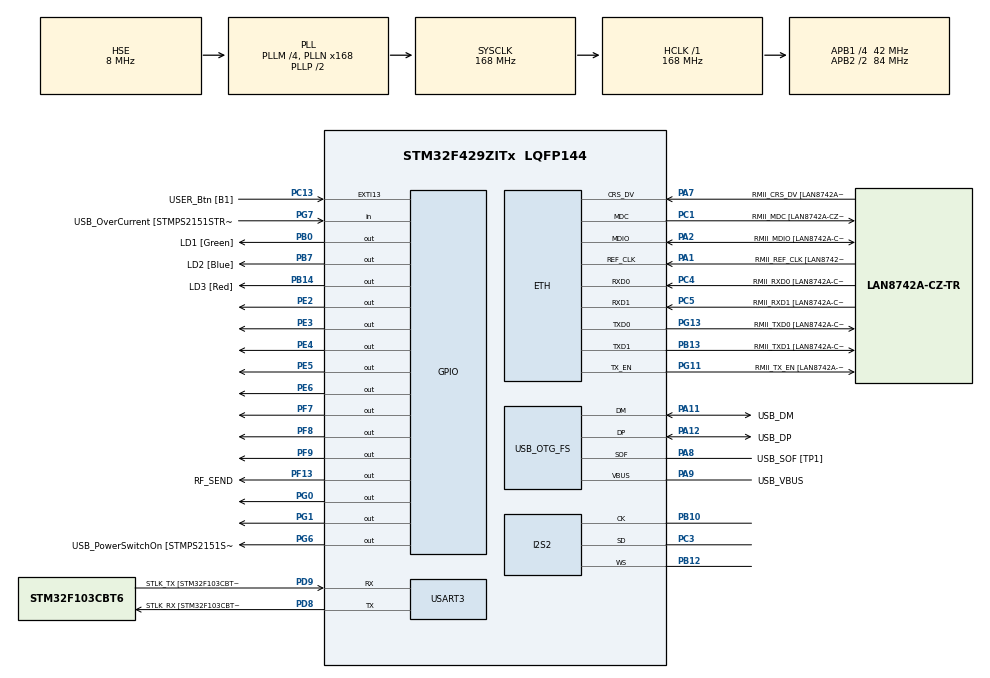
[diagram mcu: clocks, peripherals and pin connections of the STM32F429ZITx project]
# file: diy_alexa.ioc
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Dma.Request0=SPI2_RX
Dma.SPI2_RX.0.Direction=DMA_PERIPH_TO_MEMORY
Dma.SPI2_RX.0.FIFOMode=DMA_FIFOMODE_DISABLE
Dma.SPI2_RX.0.Instance=DMA1_Stream3
Dma.SPI2_RX.0.MemDataAlignment=DMA_MDATAALIGN_HALFWORD
Dma.SPI2_RX.0.MemInc=DMA_MINC_ENABLE
Dma.SPI2_RX.0.Mode=DMA_CIRCULAR
Dma.SPI2_RX.0.PeriphDataAlignment=DMA_PDATAALIGN_HALFWORD
Dma.SPI2_RX.0.PeriphInc=DMA_PINC_DISABLE
Dma.SPI2_RX.0.Priority=DMA_PRIORITY_HIGH
ETH.MediaInterface=HAL_ETH_RMII_MODE
ETH.PHY_Name=LAN8742A_PHY_ADDRESS
ETH.PHY_Value=0
ETH.PhyAddress=0
I2S2.AudioFreq=I2S_AUDIOFREQ_16K
I2S2.DataFormat=I2S_DATAFORMAT_24B
I2S2.ErrorAudioFreq=-0.26 %
I2S2.FullDuplexMode=I2S_FULLDUPLEXMODE_DISABLE
I2S2.Instance=SPI$Index
I2S2.Mode=I2S_MODE_MASTER_RX
I2S2.RealAudioFreq=15.957 KHz
I2S2.VirtualMode=I2S_MODE_MASTER
Mcu.Family=STM32F4
Mcu.Name=STM32F429ZITx
Mcu.Package=LQFP144
NVIC.DMA1_Stream3_IRQn=true\:0\:0\:false\:false\:true\:false\:true\:true
NVIC.PriorityGroup=NVIC_PRIORITYGROUP_4
PA1.GPIO_Label=RMII_REF_CLK [LAN8742A-CZ-TR_REFCLK0]
PA1.Mode=RMII
PA1.Signal=ETH_REF_CLK
PA10.GPIO_Label=USB_ID
PA10.Signal=USB_OTG_FS_ID
PA11.GPIO_Label=USB_DM
PA11.Mode=Device_Only
PA11.Signal=USB_OTG_FS_DM
PA12.GPIO_Label=USB_DP
PA12.Mode=Device_Only
PA12.Signal=USB_OTG_FS_DP
PA13.GPIO_Label=TMS
PA13.Mode=Serial_Wire
PA13.Signal=SYS_JTMS-SWDIO
PA14.GPIO_Label=TCK
PA14.Mode=Serial_Wire
PA14.Signal=SYS_JTCK-SWCLK
PA2.GPIO_Label=RMII_MDIO [LAN8742A-CZ-TR_MDIO]
PA2.Mode=RMII
PA2.Signal=ETH_MDIO
PA7.GPIO_Label=RMII_CRS_DV [LAN8742A-CZ-TR_CRS_DV]
PA7.Mode=RMII
PA7.Signal=ETH_CRS_DV
PA8.GPIO_Label=USB_SOF [TP1]
PA8.Mode=Activate_SOF_FS
PA8.Signal=USB_OTG_FS_SOF
PA9.GPIO_Label=USB_VBUS
PA9.Mode=Activate_VBUS
PA9.Signal=USB_OTG_FS_VBUS
PB0.GPIO_Label=LD1 [Green]
PB0.Signal=GPIO_Output
PB10.Mode=Half_Duplex_Master
PB10.Signal=I2S2_CK
PB12.Mode=Half_Duplex_Master
PB12.Signal=I2S2_WS
PB13.GPIO_Label=RMII_TXD1 [LAN8742A-CZ-TR_TXD1]
PB13.Mode=RMII
PB13.Signal=ETH_TXD1
PB14.GPIO_Label=LD3 [Red]
PB14.Signal=GPIO_Output
PB7.GPIO_Label=LD2 [Blue]
PB7.Signal=GPIO_Output
PC1.GPIO_Label=RMII_MDC [LAN8742A-CZ-TR_MDC]
PC1.Mode=RMII
PC1.Signal=ETH_MDC
PC13.GPIO_Label=USER_Btn [B1]
PC13.Signal=GPXTI13
PC14/OSC32_IN.Mode=LSE-External-Oscillator
PC14/OSC32_IN.Signal=RCC_OSC32_IN
PC15/OSC32_OUT.Mode=LSE-External-Oscillator
PC15/OSC32_OUT.Signal=RCC_OSC32_OUT
PC3.Mode=Half_Duplex_Master
PC3.Signal=I2S2_SD
PC4.GPIO_Label=RMII_RXD0 [LAN8742A-CZ-TR_RXD0]
PC4.Mode=RMII
PC4.Signal=ETH_RXD0
PC5.GPIO_Label=RMII_RXD1 [LAN8742A-CZ-TR_RXD1]
PC5.Mode=RMII
PC5.Signal=ETH_RXD1
PD8.GPIO_Label=STLK_RX [STM32F103CBT6_PA3]
PD8.Mode=Asynchronous
PD8.Signal=USART3_TX
PD9.GPIO_Label=STLK_TX [STM32F103CBT6_PA2]
PD9.Mode=Asynchronous
PD9.Signal=USART3_RX
PE2.Signal=GPIO_Output
PE3.Signal=GPIO_Output
PE4.Signal=GPIO_Output
PE5.Signal=GPIO_Output
PE6.Signal=GPIO_Output
PF13.GPIO_Label=RF_SEND
PF13.PinState=GPIO_PIN_SET
PF13.Signal=GPIO_Output
PF7.Signal=GPIO_Output
PF8.Signal=GPIO_Output
PF9.Signal=GPIO_Output
PG0.Signal=GPIO_Output
PG1.Signal=GPIO_Output
PG11.GPIO_Label=RMII_TX_EN [LAN8742A-CZ-TR_TXEN]
PG11.Mode=RMII
PG11.Signal=ETH_TX_EN
PG13.GPIO_Label=RMII_TXD0 [LAN8742A-CZ-TR_TXD0]
PG13.Mode=RMII
PG13.Signal=ETH_TXD0
PG6.GPIO_Label=USB_PowerSwitchOn [STMPS2151STR_EN]
PG6.Signal=GPIO_Output
PG7.GPIO_Label=USB_OverCurrent [STMPS2151STR_FAULT]
PG7.Signal=GPIO_Input
PH0/OSC_IN.GPIO_Label=MCO [STM32F103CBT6_PA8]
PH0/OSC_IN.Mode=HSE-External-Clock-Source
PH0/OSC_IN.Signal=RCC_OSC_IN
PH1/OSC_OUT.Mode=HSE-External-Clock-Source
PH1/OSC_OUT.Signal=RCC_OSC_OUT
ProjectManager.HeapSize=0x200
ProjectManager.StackSize=0x400
ProjectManager.TargetToolchain=STM32CubeIDE
RCC.48MHZClocksFreq_Value=48000000
RCC.AHBFreq_Value=168000000
RCC.APB1CLKDivider=RCC_HCLK_DIV4
RCC.APB1Freq_Value=42000000
RCC.APB1TimFreq_Value=84000000
RCC.APB2CLKDivider=RCC_HCLK_DIV2
RCC.APB2Freq_Value=84000000
RCC.APB2TimCLKDivider=2
RCC.APB2TimFreq_Value=168000000
RCC.CortexFreq_Value=168000000
RCC.HCLKFreq_Value=168000000
RCC.HSE_VALUE=8000000
RCC.HSI_VALUE=16000000
RCC.PLLM=4
RCC.PLLMUL=RCC_PLL_MUL9
RCC.PLLN=168
RCC.PLLQ=7
RCC.PRESCALERUSB=RCC_USBCLKSOURCE_PLL_DIV1_5
RCC.SYSCLKFreq_VALUE=168000000
RCC.SYSCLKSource=RCC_SYSCLKSOURCE_PLLCLK
RCC.SYSCLKSourceVirtual=RCC_SYSCLKSOURCE_PLLCLK
RCC.USBFreq_Value=48000000
RCC.VCOOutputFreq_Value=336000000
TIM2.Prescaler=83
USART3.VirtualMode=VM_ASYNC
USB_OTG_FS.VirtualMode=Device_Only
VP_TIM2_VS_ClockSourceINT.Mode=Internal
board=NUCLEO-F429ZI

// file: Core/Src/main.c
/* USER CODE BEGIN Header */
/**
  ******************************************************************************
  * @file           : main.c
  * @brief          : Main program body
  ******************************************************************************
  * @attention
  *
  * Copyright (c) 2026 STMicroelectronics.
  * All rights reserved.
  *
  * This software is licensed under terms that can be found in the LICENSE file
  * in the root directory of this software component.
  * If no LICENSE file comes with this software, it is provided AS-IS.
  *
  ******************************************************************************
  */
/* USER CODE END Header */
#include "main.h"
#include "string.h"

/* USER CODE BEGIN Includes */
#include <stdio.h>
#include "leds.h"
#include "mic.h"
#include "timing.h"
#include "rf.h"

/* USER CODE END Includes */

/* USER CODE BEGIN PD */
/* Test-Schalter: 1 = an, 0 = aus */
#define LED_TEST      0   // A1.2: LED-Balken hoch/runter zaehlen
#define MIC_TEST      0   // A1.5: 1 s Mikrofonaufnahme beim Start
#define MIC_PRINT_ALL 0   // A1.5: alle 16000 Werte ausgeben (Wav-Script), nur zusammen mit MIC_TEST 1
#define RF_TEST       1   // A1.4: Steckdose alle 10 s an/aus, mit Zeitmessung im Terminal
/* USER CODE END PD */

ETH_TxPacketConfig TxConfig;
ETH_DMADescTypeDef  DMARxDscrTab[ETH_RX_DESC_CNT]; /* Ethernet Rx DMA Descriptors */
ETH_DMADescTypeDef  DMATxDscrTab[ETH_TX_DESC_CNT]; /* Ethernet Tx DMA Descriptors */

ETH_HandleTypeDef heth;

I2S_HandleTypeDef hi2s2;
DMA_HandleTypeDef hdma_spi2_rx;
TIM_HandleTypeDef htim2;

UART_HandleTypeDef huart3;

PCD_HandleTypeDef hpcd_USB_OTG_FS;

/* USER CODE BEGIN PV */
#if MIC_TEST
static int32_t recording[MIC_SAMPLE_RATE];   // 1 s Audio = 16000 Samples = 64 KB
#endif
/* USER CODE END PV */

void SystemClock_Config(void);
static void MX_GPIO_Init(void);
static void MX_DMA_Init(void);
static void MX_ETH_Init(void);
static void MX_USART3_UART_Init(void);
static void MX_USB_OTG_FS_PCD_Init(void);
static void MX_I2S2_Init(void);
static void MX_TIM2_Init(void);

int main(void)
{

  /* MCU Configuration--------------------------------------------------------*/

  /* Reset of all peripherals, Initializes the Flash interface and the Systick. */
  HAL_Init();

  /* Configure the system clock */
  SystemClock_Config();

  /* Initialize all configured peripherals */
  MX_GPIO_Init();
  MX_DMA_Init();
  MX_ETH_Init();
  MX_USART3_UART_Init();
  MX_USB_OTG_FS_PCD_Init();
  MX_I2S2_Init();
  MX_TIM2_Init();
  /* USER CODE BEGIN 2 */

  ledsInit();
  HAL_TIM_Base_Start(&htim2);   // Timer fuer delay350Microseconds (A1.3)
  printf("DIY Alexa gestartet\r\n");

#if MIC_TEST
  /* --- Mikrofon-Test (Aufgabe 1.5) --- */
  micStart();
  HAL_Delay(3000);   // erste Werte des Mikrofons sind unbrauchbar -> 3 s warten

  printf("Aufnahme beginnt\r\n");
  uint32_t dauer = micRecord(recording, MIC_SAMPLE_RATE);   // 1 s = 16000 Samples
  printf("Aufnahme fertig: %lu Samples in %lu ms, Overruns: %lu\r\n",
         (unsigned long)MIC_SAMPLE_RATE, (unsigned long)dauer, (unsigned long)micOverruns());

  printf("Erste 10 Samples:\r\n");
  for (int i = 0; i < 10; i++)
  {
    printf("%ld\r\n", (long)recording[i]);
  }

#if MIC_PRINT_ALL
  printf("WAV_START\r\n");
  for (uint32_t i = 0; i < MIC_SAMPLE_RATE; i++)
  {
    printf("%ld\r\n", (long)recording[i]);
  }
  printf("WAV_END\r\n");
#endif
#endif /* MIC_TEST */

  /* USER CODE END 2 */

  /* Infinite loop */
  /* USER CODE BEGIN WHILE */
  while (1)
  {
#if LED_TEST
    /* A1.2 Test: LED-Balken hoch und runter */
    for (uint8_t n = 0; n <= ledCount(); n++)
    {
      setLeds(n);
      HAL_Delay(200);
    }
    for (int n = ledCount(); n >= 0; n--)
    {
      setLeds((uint8_t)n);
      HAL_Delay(200);
    }
#endif

    /*
    // A1.3 Test
    setLeds(10);
    delay350Microseconds(1000);
    setLeds(0);
    delay350Microseconds(1000);
    */

#if RF_TEST
    /* A1.4 Test: Steckdose an, 10 s warten, aus, 10 s warten.
       Erwartete Dauer pro sendSequence: 10 x (12 x 8 + 32) x 350 us = 448 ms */
    uint32_t t = HAL_GetTick();
    sendSequence(0b111111000010); // ON
    printf("RF: ON  gesendet (%lu ms)\r\n", (unsigned long)(HAL_GetTick() - t));
    HAL_GPIO_TogglePin(LD1_GPIO_Port, LD1_Pin);
    HAL_Delay(10000);

    t = HAL_GetTick();
    sendSequence(0b111111000001); // OFF
    printf("RF: OFF gesendet (%lu ms)\r\n", (unsigned long)(HAL_GetTick() - t));
    HAL_GPIO_TogglePin(LD1_GPIO_Port, LD1_Pin);
    HAL_Delay(10000);
#endif

    /* USER CODE END WHILE */

  }
}

void SystemClock_Config(void)
{
  RCC_OscInitTypeDef RCC_OscInitStruct = {0};
  RCC_ClkInitTypeDef RCC_ClkInitStruct = {0};

  /** Configure the main internal regulator output voltage
  */
  __HAL_RCC_PWR_CLK_ENABLE();
  __HAL_PWR_VOLTAGESCALING_CONFIG(PWR_REGULATOR_VOLTAGE_SCALE1);

  /** Initializes the RCC Oscillators according to the specified parameters
  * in the RCC_OscInitTypeDef structure.
  */
  RCC_OscInitStruct.OscillatorType = RCC_OSCILLATORTYPE_HSE;
  RCC_OscInitStruct.HSEState = RCC_HSE_BYPASS;
  RCC_OscInitStruct.PLL.PLLState = RCC_PLL_ON;
  RCC_OscInitStruct.PLL.PLLSource = RCC_PLLSOURCE_HSE;
  RCC_OscInitStruct.PLL.PLLM = 4;
  RCC_OscInitStruct.PLL.PLLN = 168;
  RCC_OscInitStruct.PLL.PLLP = RCC_PLLP_DIV2;
  RCC_OscInitStruct.PLL.PLLQ = 7;
  if (HAL_RCC_OscConfig(&RCC_OscInitStruct) != HAL_OK)
  {
    Error_Handler();
  }

  /** Initializes the CPU, AHB and APB buses clocks
  */
  RCC_ClkInitStruct.ClockType = RCC_CLOCKTYPE_HCLK|RCC_CLOCKTYPE_SYSCLK
                              |RCC_CLOCKTYPE_PCLK1|RCC_CLOCKTYPE_PCLK2;
  RCC_ClkInitStruct.SYSCLKSource = RCC_SYSCLKSOURCE_PLLCLK;
  RCC_ClkInitStruct.AHBCLKDivider = RCC_SYSCLK_DIV1;
  RCC_ClkInitStruct.APB1CLKDivider = RCC_HCLK_DIV4;
  RCC_ClkInitStruct.APB2CLKDivider = RCC_HCLK_DIV2;

  if (HAL_RCC_ClockConfig(&RCC_ClkInitStruct, FLASH_LATENCY_5) != HAL_OK)
  {
    Error_Handler();
  }
}

static void MX_ETH_Init(void)
{

   static uint8_t MACAddr[6];

  heth.Instance = ETH;
  MACAddr[0] = 0x00;
  MACAddr[1] = 0x80;
  MACAddr[2] = 0xE1;
  MACAddr[3] = 0x00;
  MACAddr[4] = 0x00;
  MACAddr[5] = 0x00;
  heth.Init.MACAddr = &MACAddr[0];
  heth.Init.MediaInterface = HAL_ETH_RMII_MODE;
  heth.Init.TxDesc = DMATxDscrTab;
  heth.Init.RxDesc = DMARxDscrTab;
  heth.Init.RxBuffLen = 1524;

  if (HAL_ETH_Init(&heth) != HAL_OK)
  {
    Error_Handler();
  }

  memset(&TxConfig, 0 , sizeof(ETH_TxPacketConfig));
  TxConfig.Attributes = ETH_TX_PACKETS_FEATURES_CSUM | ETH_TX_PACKETS_FEATURES_CRCPAD;
  TxConfig.ChecksumCtrl = ETH_CHECKSUM_IPHDR_PAYLOAD_INSERT_PHDR_CALC;
  TxConfig.CRCPadCtrl = ETH_CRC_PAD_INSERT;

}

static void MX_I2S2_Init(void)
{

  hi2s2.Instance = SPI2;
  hi2s2.Init.Mode = I2S_MODE_MASTER_RX;
  hi2s2.Init.Standard = I2S_STANDARD_PHILIPS;
  hi2s2.Init.DataFormat = I2S_DATAFORMAT_24B;
  hi2s2.Init.MCLKOutput = I2S_MCLKOUTPUT_DISABLE;
  hi2s2.Init.AudioFreq = I2S_AUDIOFREQ_16K;
  hi2s2.Init.CPOL = I2S_CPOL_LOW;
  hi2s2.Init.ClockSource = I2S_CLOCK_PLL;
  hi2s2.Init.FullDuplexMode = I2S_FULLDUPLEXMODE_DISABLE;
  if (HAL_I2S_Init(&hi2s2) != HAL_OK)
  {
    Error_Handler();
  }

}

static void MX_TIM2_Init(void)
{

  TIM_ClockConfigTypeDef sClockSourceConfig = {0};
  TIM_MasterConfigTypeDef sMasterConfig = {0};

  htim2.Instance = TIM2;
  htim2.Init.Prescaler = 83;
  htim2.Init.CounterMode = TIM_COUNTERMODE_UP;
  htim2.Init.Period = 4294967295;
  htim2.Init.ClockDivision = TIM_CLOCKDIVISION_DIV1;
  htim2.Init.AutoReloadPreload = TIM_AUTORELOAD_PRELOAD_DISABLE;
  if (HAL_TIM_Base_Init(&htim2) != HAL_OK)
  {
    Error_Handler();
  }
  sClockSourceConfig.ClockSource = TIM_CLOCKSOURCE_INTERNAL;
  if (HAL_TIM_ConfigClockSource(&htim2, &sClockSourceConfig) != HAL_OK)
  {
    Error_Handler();
  }
  sMasterConfig.MasterOutputTrigger = TIM_TRGO_RESET;
  sMasterConfig.MasterSlaveMode = TIM_MASTERSLAVEMODE_DISABLE;
  if (HAL_TIMEx_MasterConfigSynchronization(&htim2, &sMasterConfig) != HAL_OK)
  {
    Error_Handler();
  }

}

static void MX_USART3_UART_Init(void)
{

  huart3.Instance = USART3;
  huart3.Init.BaudRate = 115200;
  huart3.Init.WordLength = UART_WORDLENGTH_8B;
  huart3.Init.StopBits = UART_STOPBITS_1;
  huart3.Init.Parity = UART_PARITY_NONE;
  huart3.Init.Mode = UART_MODE_TX_RX;
  huart3.Init.HwFlowCtl = UART_HWCONTROL_NONE;
  huart3.Init.OverSampling = UART_OVERSAMPLING_16;
  if (HAL_UART_Init(&huart3) != HAL_OK)
  {
    Error_Handler();
  }

}

static void MX_USB_OTG_FS_PCD_Init(void)
{

  hpcd_USB_OTG_FS.Instance = USB_OTG_FS;
  hpcd_USB_OTG_FS.Init.dev_endpoints = 4;
  hpcd_USB_OTG_FS.Init.speed = PCD_SPEED_FULL;
  hpcd_USB_OTG_FS.Init.dma_enable = DISABLE;
  hpcd_USB_OTG_FS.Init.phy_itface = PCD_PHY_EMBEDDED;
  hpcd_USB_OTG_FS.Init.Sof_enable = ENABLE;
  hpcd_USB_OTG_FS.Init.low_power_enable = DISABLE;
  hpcd_USB_OTG_FS.Init.lpm_enable = DISABLE;
  hpcd_USB_OTG_FS.Init.vbus_sensing_enable = ENABLE;
  hpcd_USB_OTG_FS.Init.use_dedicated_ep1 = DISABLE;
  if (HAL_PCD_Init(&hpcd_USB_OTG_FS) != HAL_OK)
  {
    Error_Handler();
  }

}

static void MX_DMA_Init(void)
{

  /* DMA controller clock enable */
  __HAL_RCC_DMA1_CLK_ENABLE();

  /* DMA interrupt init */
  /* DMA1_Stream3_IRQn interrupt configuration */
  HAL_NVIC_SetPriority(DMA1_Stream3_IRQn, 0, 0);
  HAL_NVIC_EnableIRQ(DMA1_Stream3_IRQn);

}

static void MX_GPIO_Init(void)
{
  GPIO_InitTypeDef GPIO_InitStruct = {0};

  /* GPIO Ports Clock Enable */
  __HAL_RCC_GPIOE_CLK_ENABLE();
  __HAL_RCC_GPIOC_CLK_ENABLE();
  __HAL_RCC_GPIOF_CLK_ENABLE();
  __HAL_RCC_GPIOH_CLK_ENABLE();
  __HAL_RCC_GPIOA_CLK_ENABLE();
  __HAL_RCC_GPIOB_CLK_ENABLE();
  __HAL_RCC_GPIOG_CLK_ENABLE();
  __HAL_RCC_GPIOD_CLK_ENABLE();

  /*Configure GPIO pin Output Level */
  HAL_GPIO_WritePin(GPIOE, GPIO_PIN_2|GPIO_PIN_3|GPIO_PIN_4|GPIO_PIN_5
                          |GPIO_PIN_6, GPIO_PIN_RESET);

  /*Configure GPIO pin Output Level */
  HAL_GPIO_WritePin(GPIOF, GPIO_PIN_7|GPIO_PIN_8|GPIO_PIN_9, GPIO_PIN_RESET);

  /*Configure GPIO pin Output Level */
  HAL_GPIO_WritePin(GPIOB, LD1_Pin|LD3_Pin|LD2_Pin, GPIO_PIN_RESET);

  /*Configure GPIO pin Output Level */
  HAL_GPIO_WritePin(RF_SEND_GPIO_Port, RF_SEND_Pin, GPIO_PIN_SET);

  /*Configure GPIO pin Output Level */
  HAL_GPIO_WritePin(GPIOG, GPIO_PIN_0|GPIO_PIN_1|USB_PowerSwitchOn_Pin, GPIO_PIN_RESET);

  /*Configure GPIO pins : PE2 PE3 PE4 PE5
                           PE6 */
  GPIO_InitStruct.Pin = GPIO_PIN_2|GPIO_PIN_3|GPIO_PIN_4|GPIO_PIN_5
                          |GPIO_PIN_6;
  GPIO_InitStruct.Mode = GPIO_MODE_OUTPUT_PP;
  GPIO_InitStruct.Pull = GPIO_NOPULL;
  GPIO_InitStruct.Speed = GPIO_SPEED_FREQ_LOW;
  HAL_GPIO_Init(GPIOE, &GPIO_InitStruct);

  /*Configure GPIO pin : USER_Btn_Pin */
  GPIO_InitStruct.Pin = USER_Btn_Pin;
  GPIO_InitStruct.Mode = GPIO_MODE_IT_RISING;
  GPIO_InitStruct.Pull = GPIO_NOPULL;
  HAL_GPIO_Init(USER_Btn_GPIO_Port, &GPIO_InitStruct);

  /*Configure GPIO pins : PF7 PF8 PF9 RF_SEND_Pin */
  GPIO_InitStruct.Pin = GPIO_PIN_7|GPIO_PIN_8|GPIO_PIN_9|RF_SEND_Pin;
  GPIO_InitStruct.Mode = GPIO_MODE_OUTPUT_PP;
  GPIO_InitStruct.Pull = GPIO_NOPULL;
  GPIO_InitStruct.Speed = GPIO_SPEED_FREQ_LOW;
  HAL_GPIO_Init(GPIOF, &GPIO_InitStruct);

  /*Configure GPIO pins : LD1_Pin LD3_Pin LD2_Pin */
  GPIO_InitStruct.Pin = LD1_Pin|LD3_Pin|LD2_Pin;
  GPIO_InitStruct.Mode = GPIO_MODE_OUTPUT_PP;
  GPIO_InitStruct.Pull = GPIO_NOPULL;
  GPIO_InitStruct.Speed = GPIO_SPEED_FREQ_LOW;
  HAL_GPIO_Init(GPIOB, &GPIO_InitStruct);

  /*Configure GPIO pins : PG0 PG1 USB_PowerSwitchOn_Pin */
  GPIO_InitStruct.Pin = GPIO_PIN_0|GPIO_PIN_1|USB_PowerSwitchOn_Pin;
  GPIO_InitStruct.Mode = GPIO_MODE_OUTPUT_PP;
  GPIO_InitStruct.Pull = GPIO_NOPULL;
  GPIO_InitStruct.Speed = GPIO_SPEED_FREQ_LOW;
  HAL_GPIO_Init(GPIOG, &GPIO_InitStruct);

  /*Configure GPIO pin : USB_OverCurrent_Pin */
  GPIO_InitStruct.Pin = USB_OverCurrent_Pin;
  GPIO_InitStruct.Mode = GPIO_MODE_INPUT;
  GPIO_InitStruct.Pull = GPIO_NOPULL;
  HAL_GPIO_Init(USB_OverCurrent_GPIO_Port, &GPIO_InitStruct);

}

/* USER CODE BEGIN 4 */

/* printf ueber USART3 (ST-Link virtueller COM-Port) */
int __io_putchar(int ch)
{
  uint8_t c[1];
  c[0] = ch & 0x00FF;
  HAL_UART_Transmit(&huart3, &*c, 1, 10);
  return ch;
}

int _write(int file, char *ptr, int len)
{
  for (int i = 0; i < len; i++)
  {
    __io_putchar(*ptr++);
  }
  return len;
}

/* USER CODE END 4 */

void Error_Handler(void)
{
  __disable_irq();
  while (1)
  {
  }
}
